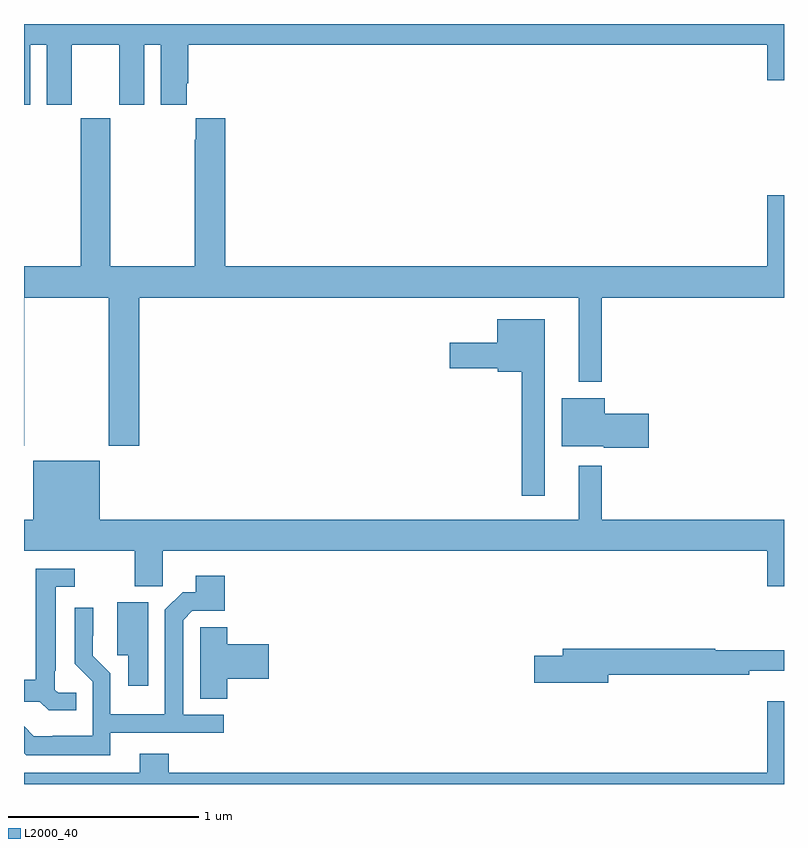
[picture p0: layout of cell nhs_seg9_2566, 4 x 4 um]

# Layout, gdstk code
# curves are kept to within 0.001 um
import gdstk
lib = gdstk.Library(unit=1e-6, precision=1e-09)
def P(c, l, *ps):  # polygons
    for p in ps: c.add(gdstk.Polygon(p, *l))
L2000_40 = (2000, 40)

nhs_seg9_2566 = lib.new_cell('nhs_seg9_2566')
P(nhs_seg9_2566, L2000_40, [(257.032,1224.392),(257.12,1224.392),(257.12,1224.075),(257.251,1224.075),(257.251,1224.392),(257.501,1224.392),(257.501,1224.075),(257.632,1224.075),(257.632,1224.392),(257.72,1224.392),(257.72,1224.075),(257.857,1224.075),(257.857,1224.187),(257.864,1224.187),(257.864,1224.392),(260.912,1224.392),(260.912,1224.204),(261,1224.204),(261,1224.5),(257,1224.5),(257,1224.075),(257.032,1224.075)],
  [(257.001,1223.06),(257.446,1223.06),(257.446,1222.281),(257.606,1222.281),(257.606,1223.06),(259.919,1223.06),(259.919,1222.616),(260.041,1222.616),(260.041,1223.06),(261,1223.06),(261,1223.599),(260.912,1223.599),(260.912,1223.224),(258.059,1223.224),(258.059,1224.004),(257.903,1224.004),(257.903,1223.891),(257.899,1223.891),(257.899,1223.224),(257.454,1223.224),(257.454,1224.004),(257.299,1224.004),(257.299,1223.224),(257,1223.224),(257,1222.281),(257.001,1222.281)],
  [(259.741,1222.945),(259.49,1222.945),(259.49,1222.822),(259.242,1222.822),(259.242,1222.688),(259.494,1222.688),(259.494,1222.67),(259.62,1222.67),(259.62,1222.017),(259.741,1222.017)],
  [(260.287,1222.448),(260.056,1222.448),(260.056,1222.531),(259.829,1222.531),(259.829,1222.277),(260.052,1222.277),(260.052,1222.27),(260.287,1222.27)],
  [(261,1221.892),(260.041,1221.892),(260.041,1222.174),(259.919,1222.174),(259.919,1221.892),(257.398,1221.892),(257.398,1222.201),(257.048,1222.201),(257.048,1221.892),(257,1221.892),(257,1221.728),(257.584,1221.728),(257.584,1221.541),(257.73,1221.541),(257.73,1221.728),(260.912,1221.728),(260.912,1221.54),(261,1221.54)],
  [(257.276,1220.979),(257.181,1220.979),(257.163,1220.997),(257.163,1221.097),(257.167,1221.097),(257.167,1221.537),(257.266,1221.537),(257.266,1221.633),(257.063,1221.633),(257.063,1221.05),(257,1221.05),(257,1220.934),(257.082,1220.934),(257.13,1220.887),(257.276,1220.887)],
  [(257.455,1220.769),(258.052,1220.769),(258.052,1220.865),(257.838,1220.865),(257.838,1221.363),(257.886,1221.411),(258.056,1221.411),(258.056,1221.595),(257.903,1221.595),(257.903,1221.51),(257.835,1221.51),(257.742,1221.417),(257.742,1220.866),(257.454,1220.866),(257.454,1221.082),(257.363,1221.174),(257.364,1221.427),(257.268,1221.427),(257.268,1221.132),(257.361,1221.039),(257.361,1220.755),(257.152,1220.755),(257.152,1220.751),(257.052,1220.751),(257,1220.803),(257,1220.662),(257.011,1220.651),(257.455,1220.651)],
  [(257.653,1221.456),(257.492,1221.456),(257.492,1221.177),(257.549,1221.177),(257.549,1221.018),(257.653,1221.018)],
  [(258.071,1221.053),(258.289,1221.053),(258.289,1221.236),(258.071,1221.236),(258.071,1221.326),(257.928,1221.326),(257.928,1221.218),(257.927,1221.218),(257.927,1220.95),(258.071,1220.95)],
  [(260.074,1221.076),(260.816,1221.076),(260.816,1221.095),(261,1221.095),(261,1221.205),(260.639,1221.205),(260.639,1221.212),(259.835,1221.212),(259.835,1221.176),(259.686,1221.176),(259.686,1221.034),(260.074,1221.034)],
  [(261,1220.935),(260.912,1220.935),(260.912,1220.56),(257.762,1220.56),(257.762,1220.659),(257.609,1220.659),(257.609,1220.56),(257,1220.56),(257,1220.5),(261,1220.5)])

lib.write_gds('nhs_seg9_2566.gds')
